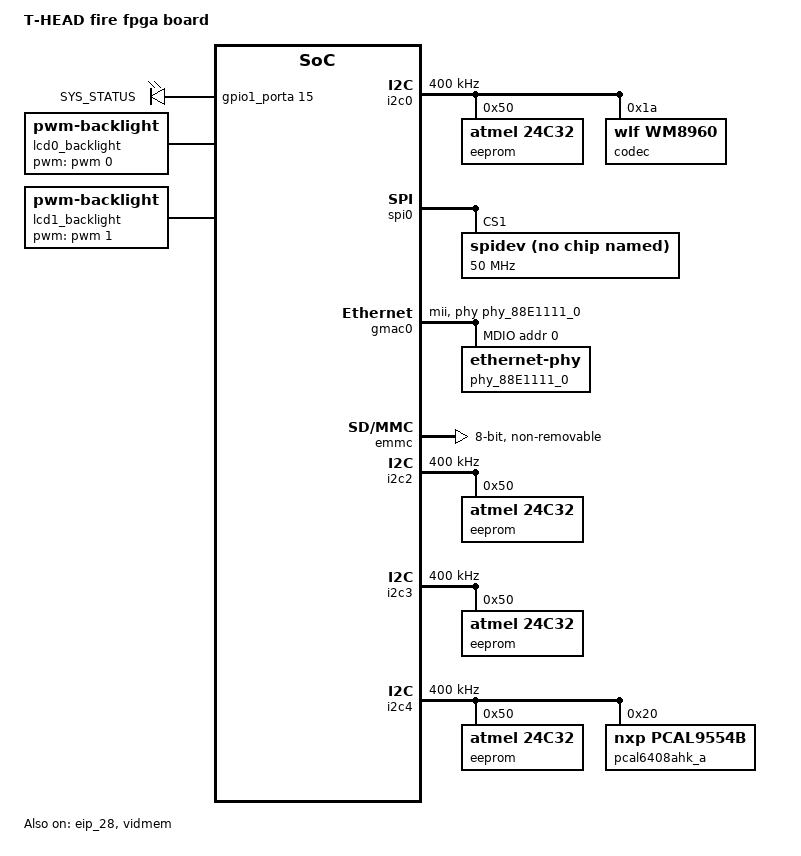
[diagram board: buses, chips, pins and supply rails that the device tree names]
/* SPDX-License-Identifier: GPL-2.0 */
/*
 * Copyright (C) 2021-2022 Alibaba Group Holding Limited.
 */

/dts-v1/;

#include "fire.dtsi"
#include <dt-bindings/input/linux-event-codes.h>
#include <dt-bindings/gpio/gpio.h>
#include "light-vi-devices.dtsi"

/ {
	model = "T-HEAD fire fpga board";
	compatible = "thead,fire-emu", "thead,fire";

	chosen {
		bootargs = "console=ttyS0,115200 crashkernel=256M-:128M earlycon clk_ignore_unused sram=0xffe0000000,0x180000";
		stdout-path = "serial0:115200n8";
	};

	leds {
		compatible = "gpio-leds";

		led0 {
			label = "SYS_STATUS";
			gpios = <&gpio1_porta 15 0>;	/* GPIO_ACTIVE_HIGH: 0 */
			default-state = "off";
		};
	};

	lcd0_backlight: pwm-backlight@0 {
		compatible = "pwm-backlight";
		pwms = <&pwm 0 5000000>;
		brightness-levels = <0 4 8 16 32 64 128 255>;
		default-brightness-level = <7>;
	};

	lcd1_backlight: pwm-backlight@1 {
		compatible = "pwm-backlight";
		pwms = <&pwm 1 5000000>;
		brightness-levels = <0 4 8 16 32 64 128 255>;
		default-brightness-level = <7>;
	};

	light_iopmp: iopmp {
		compatible = "thead,light-iopmp";

		/* config#1: multiple valid regions */
		iopmp_emmc: IOPMP_EMMC {
			regions = <0x000000 0x100000>,
				  <0x100000 0x200000>;
			attr = <0xFFFFFFFF>;
			dummy_slave= <0x800000>;
		};

		/* config#2: iopmp bypass */
		iopmp_sdio0: IOPMP_SDIO0 {
			bypass_en;
		};

		/* config#3: iopmp default region set */
		iopmp_sdio1: IOPMP_SDIO1 {
			attr = <0xFFFFFFFF>;
			is_default_region;
		};

		iopmp_usb0: IOPMP_USB0 {
			attr = <0xFFFFFFFF>;
			is_default_region;
		};

		iopmp_ao: IOPMP_AO {
			is_default_region;
		};

		iopmp_aud: IOPMP_AUD {
			is_default_region;
		};

		iopmp_chip_dbg: IOPMP_CHIP_DBG {
			is_default_region;
		};

		iopmp_eip120i: IOPMP_EIP120I {
			is_default_region;
		};

		iopmp_eip120ii: IOPMP_EIP120II {
			is_default_region;
		};

		iopmp_eip120iii: IOPMP_EIP120III {
			is_default_region;
		};

		iopmp_isp0: IOPMP_ISP0 {
			is_default_region;
		};

		iopmp_isp1: IOPMP_ISP1 {
			is_default_region;
		};

		iopmp_dw200: IOPMP_DW200 {
			is_default_region;
		};

		iopmp_vipre: IOPMP_VIPRE {
			is_default_region;
		};

		iopmp_venc: IOPMP_VENC {
			is_default_region;
		};

		iopmp_vdec: IOPMP_VDEC {
			is_default_region;
		};

		iopmp_g2d: IOPMP_G2D {
			is_default_region;
		};

		iopmp0_dpu: IOPMP0_DPU {
			bypass_en;
		};

		iopmp1_dpu: IOPMP1_DPU {
			bypass_en;
		};

		iopmp_gpu: IOPMP_GPU {
			is_default_region;
		};

		iopmp_gmac1: IOPMP_GMAC1 {
			is_default_region;
		};

		iopmp_gmac2: IOPMP_GMAC2 {
			is_default_region;
		};

		iopmp_dmac: IOPMP_DMAC {
			is_default_region;
		};

		iopmp_tee_dmac: IOPMP_TEE_DMAC {
			is_default_region;
		};

		iopmp_dsp0: IOPMP_DSP0 {
			is_default_region;
		};

		iopmp_dsp1: IOPMP_DSP1 {
			is_default_region;
		};
	};

	mbox_910t_client1: mbox_910t_client1 {
		compatible = "thead,light-mbox-client";
		mbox-names = "902";
		mboxes = <&mbox_910t 1 0>;
		status = "disabled";
	};


	mbox_910t_client2: mbox_910t_client2 {
		compatible = "thead,light-mbox-client";
		mbox-names = "906";
		mboxes = <&mbox_910t 2 0>;
		status = "disabled";
	};

	lightsound: lightsound@1 {
		compatible = "simple-audio-card";
		simple-audio-card,name = "Light-Sound-Card";

		#address-cells = <1>;
		#size-cells = <0>;

		status = "disabled";
	};

	dummy_codec: dummy_codec {
		#sound-dai-cells = <1>;
		compatible = "linux,bt-sco";
		status = "okay";
	};


	wcn_wifi: wireless-wlan {
		compatible = "wlan-platdata";
		clock-names = "clk_wifi";
		ref-clock-frequency = <24000000>;
		keep_wifi_power_on;
		pinctrl-names = "default";
		wifi_chip_type = "rtl8723ds";
		WIFI,poweren_gpio = <&gpio2_porta 26 0>;
		WIFI,reset_n = <&gpio2_porta 28 0>;
		status = "disabled";
	};

	wcn_bt: wireless-bluetooth {
		compatible = "bluetooth-platdata";
		pinctrl-names = "default", "rts_gpio";
		BT,power_gpio    = <&gpio2_porta 29 0>;
		status = "disabled";
	};

	gpio_keys: gpio_keys{
		compatible = "gpio-keys";
		pinctrl-names = "default";
		status = "disabled";
		key-volumedown {
			label = "Volume Down Key";
			linux,code = <KEY_1>;
			debounce-interval = <2>;
			gpios = <&ao_gpio_porta 4 GPIO_ACTIVE_LOW>;
		};
		key-volumeup {
			label = "Volume Up Key";
			linux,code = <KEY_2>;
			debounce-interval = <2>;
			gpios = <&ao_gpio_porta 5 GPIO_ACTIVE_LOW>;
		};
	};

	aon: light-aon {
		compatible = "thead,light-aon";
		mbox-names = "aon";
		mboxes = <&mbox_910t 1 0>;
		status = "disabled";

		pd: light-aon-pd {
			compatible = "thead,light-aon-pd";
			#power-domain-cells = <1>;
			status = "disabled";
		};

		aon_reg_dialog: light-dialog-reg {
			compatible = "thead,light-dialog-pmic";
			status = "disabled";
		};

		c910_cpufreq {
			compatible = "thead,light-mpw-cpufreq";
			status = "disabled";
		};

		test: light-aon-test {
			compatible = "thead,light-aon-test";
			status = "disabled";
		};
	};
};

&cmamem {
	alloc-ranges = <0 0xe4000000 0 0x14000000>; // [0xE400_0000 ~ 0xF800_0000]
};

&resmem {
	#address-cells = <2>;
	#size-cells = <2>;
	ranges;

	tee_mem: memory@1a000000 {
		reg = <0x0 0x1a000000 0 0x4000000>;
		no-map;
	};
	dsp0_mem: memory@20000000 {			/**0x2000_0000~0x2040_0000 4M**/
		reg = <0x0 0x20000000 0x0 0x00280000	/* DSP FW code&data section 2.5M*/
		       0x0 0x20280000 0x0 0x00001000	/* DSP communication area 4K*/
		       0x0 0x20281000 0x0 0x00007000	/* Panic/log page 28K */
		       0x0 0x20288000 0x0 0x00178000>;	/* DSP shared memory 1.5M-32K*/
		no-map;
	};
	dsp1_mem: memory@20400000 {			/**0x2040_0000~0x2080_0000 4M**/
		reg = <0x0 0x20400000 0x0 0x00280000	/* DSP FW code&data section */
		       0x0 0x20680000 0x0 0x00001000	/* DSP communication area */
		       0x0 0x20681000 0x0 0x00007000	/* Panic/log page*/
		       0x0 0x20688000 0x0 0x00178000>;	/* DSP shared memory */
		no-map;
	};
    vi_mem: framebuffer@0f800000 {
		reg = <0x0 0x0F800000 0x0 0x05400000	/* vi_mem_pool_region[0]  84 MB (default) */
		       0x0 0x14C00000 0x0 0x01D00000	/* vi_mem_pool_region[1]  29 MB */
		       0x0 0x16900000 0x0 0x03200000>;	/* vi_mem_pool_region[2]  50 MB */
		no-map;
	};
	facelib_mem: memory@22000000 {
		reg = <0x0 0x22000000 0x0 0x10000000>;
		no-map;
	};

};

&clk {
	status = "disabled";
};

&i2c0 {
	clock-frequency = <400000>;
	status = "okay";

	eeprom@50 {
		compatible = "atmel,24c32";
		reg = <0x50>;
		pagesize = <32>;
	};

	codec: wm8960@1a {
		#sound-dai-cells = <0>;
		compatible = "wlf,wm8960";
		reg = <0x1a>;
		wlf,shared-lrclk;
		wlf,hp-cfg = <3 2 3>;
		wlf,gpio-cfg = <1 3>;
	};

       touch@5d {
               #gpio-cells = <2>;
               compatible = "goodix,gt911";
			   status = "disabled";
               reg = <0x5d>;
               interrupt-parent = <&gpio1_porta>;
               interrupts = <8 0>;
               irq-gpios = <&gpio1_porta 8 0>;
               reset-gpios = <&gpio1_porta 7 0>;
               touchscreen-size-x = <800>;
               touchscreen-size-y = <1280>;
       };
};

&audio_i2c0 {
        clock-frequency = <100000>;
        status = "disabled";

       es8156_audio_codec: es8156@8 {
               #sound-dai-cells = <0>;
               compatible = "everest,es8156";
               reg = <0x08>;
       };

        es7210_audio_codec: es7210@40 {
                #sound-dai-cells = <0>;
                compatible = "MicArray_0";
                reg = <0x40>;
        };
};

&i2c1 {
        clock-frequency = <400000>;
        status = "disabled";
        touch1@5d {
                #gpio-cells = <2>;
                compatible = "goodix,gt911";
                reg = <0x5d>;
                interrupt-parent = <&gpio1_porta>;
                interrupts = <12 0>;
                irq-gpios = <&gpio1_porta 12 0>;
                reset-gpios = <&gpio1_porta 11 0>;
                touchscreen-size-x = <800>;
                touchscreen-size-y = <1280>;
        };
};

&spi0 {
	num-cs = <1>;
	cs-gpios = <&gpio2_porta 15 0>; // GPIO_ACTIVE_HIGH: 0
	rx-sample-delay-ns = <10>;
	status = "okay";

	spi_norflash@0 {
		#address-cells = <1>;
		#size-cells = <1>;
		compatible = "winbond,w25q64jwm", "jedec,spi-nor";
		reg = <0>;
		spi-max-frequency = <50000000>;
		w25q,fast-read;
		status = "disabled";
	};

	spidev@1 {
		compatible = "spidev";
		#address-cells = <0x1>;
		#size-cells = <0x1>;
		reg = <0x1>;
		spi-max-frequency = <50000000>;
	};
};

&qspi0 {
	status = "disabled";
};

&qspi1 {
	status = "disabled";
};
&gmac0 {
	max-speed = <100>;
	phy-mode = "mii";
	phy-handle = <&phy_88E1111_0>;
	status = "okay";

	mdio0 {
		#address-cells = <1>;
		#size-cells = <0>;
		compatible = "snps,dwmac-mdio";

		phy_88E1111_0: ethernet-phy@0 {
			reg = <0x0>;
		};

	};
};

&emmc {
	max-frequency = <198000000>;
	non-removable;
	/*mmc-hs400-1_8v;*/
	io_fixed_1v8;
	is_emmc;
	no-sdio;
	no-sd;
	pull_up;
	bus-width = <8>;
	status = "okay";
};

&sdhci0 {
	max-frequency = <198000000>;
	bus-width = <4>;
	pull_up;
	wprtn_ignore;
	status = "disabled";
};

&sdhci1 {
	max-frequency = <100000000>;
	bus-width = <4>;
	pull_up;
	no-sd;
	no-mmc;
	non-removable;
	io_fixed_1v8;
	post-power-on-delay-ms = <50>;
	wprtn_ignore;
	cap-sd-highspeed;
	keep-power-in-suspend;
	wakeup-source;
	status = "disabled";
};

&padctrl0_apsys { /* right-pinctrl */
	light-evb-padctrl0 {
			/*
			 * Pin Configuration Node:
			 * Format: <pin_id mux_node config>
			 */
			pinctrl_uart0: uart0grp {
				thead,pins = <
					FM_UART0_TXD	0x0	0x72
					FM_UART0_RXD	0x0	0x72
				>;
			};

			pinctrl_spi0: spi0grp {
				thead,pins = <
					FM_SPI_CSN	0x3	0x20a
					FM_SPI_SCLK	0x0	0x20a
					FM_SPI_MISO	0x0	0x23a
					FM_SPI_MOSI	0x0	0x23a
				>;
			};

			pinctrl_qspi0: qspi0grp {
				thead,pins = <
					FM_QSPI0_SCLK    0x0    0x20f
					FM_QSPI0_CSN0    0x3    0x20f
					FM_QSPI0_CSN1    0x0    0x20f
					FM_QSPI0_D0_MOSI 0x0    0x23f
					FM_QSPI0_D1_MISO 0x0    0x23f
					FM_QSPI0_D2_WP   0x0    0x23f
					FM_QSPI0_D3_HOLD 0x0    0x23f
				>;
			};

			pinctrl_audio_i2s0: i2s0grp {
				thead,pins = <
					FM_QSPI0_SCLK    0x2    0x208
					FM_QSPI0_CSN0    0x2    0x238
					FM_QSPI0_CSN1    0x2    0x208
					FM_QSPI0_D0_MOSI 0x2    0x238
					FM_QSPI0_D1_MISO 0x2    0x238
					FM_QSPI0_D2_WP   0x2    0x238
					FM_QSPI0_D3_HOLD 0x2    0x238
				>;
			};

			pinctrl_pwm: pwmgrp {
				thead,pins = <
					FM_GPIO3_2	0x1	0x208	/* pwm0 */
					FM_GPIO3_3	0x1	0x208	/* pwm1 */
				>;
			};
		};
};

&padctrl1_apsys { /* left-pinctrl */
	light-evb-padctrl1 {
			/*
			 * Pin Configuration Node:
			 * Format: <pin_id mux_node config>
			 */
			pinctrl_uart3: uart3grp {
				thead,pins = <
					FM_UART3_TXD	0x0	0x72
					FM_UART3_RXD	0x0	0x72
				>;
			};

			pinctrl_uart4: uart4grp {
				thead,pins = <
					FM_UART4_TXD	0x0	0x72
					FM_UART4_RXD	0x0	0x72
					FM_UART4_CTSN	0x0	0x72
					FM_UART4_RTSN	0x0	0x72
				>;
			};

			pinctrl_qspi1: qspi1grp {
				thead,pins = <
					FM_QSPI1_SCLK    0x0    0x20a
					FM_QSPI1_CSN0    0x3    0x20a
					FM_QSPI1_D0_MOSI 0x0    0x23a
					FM_QSPI1_D1_MISO 0x0    0x23a
					FM_QSPI1_D2_WP   0x0    0x23a
					FM_QSPI1_D3_HOLD 0x0    0x23a
				>;
			};


			pinctrl_iso7816: iso7816grp {
				thead,pins = <
					FM_QSPI1_SCLK		0x1	0x208
					FM_QSPI1_D0_MOSI	0x1	0x238
					FM_QSPI1_D1_MISO	0x1	0x238
					FM_QSPI1_D2_WP		0x1	0x238
					FM_QSPI1_D3_HOLD	0x1	0x238
				>;
			};

		};
};

&i2c2 {
    clock-frequency = <400000>;
	status = "okay";
	eeprom@50 {
		compatible = "atmel,24c32";
		reg = <0x50>;
		pagesize = <32>;
	};
};

&i2c3 {
    clock-frequency = <400000>;
	status = "okay";
	eeprom@50 {
		compatible = "atmel,24c32";
		reg = <0x50>;
		pagesize = <32>;
	};
};

&i2c4 {
    clock-frequency = <400000>;
	status = "okay";
	eeprom@50 {
		compatible = "atmel,24c32";
		reg = <0x50>;
		pagesize = <32>;
	};

	pcal6408ahk_a: gpio@20 {
		compatible = "nxp,pcal9554b";
		reg = <0x20>;
		gpio-controller;
		#gpio-cells = <2>;
	};
};

&isp0 {
	status = "disabled";
};

&isp1 {
	status = "disabled";
};

&isp_ry0 {
	status = "disabled";
};

&dewarp {
	status = "disabled";
};

&dec400_isp0 {
	status = "disabled";
};

&dec400_isp1 {
	status = "disabled";
};

&dec400_isp2 {
	status = "disabled";
};

&bm_visys {
	status = "disabled";
};

&bm_csi0 {
	status = "disabled";
};

&bm_csi1 {
	status = "disabled";
};

&bm_csi2 {
	status = "disabled";
};

&vi_pre {
	//vi_pre_irq_en = <1>;
	status = "disabled";
};

&xtensa_dsp {
	status = "disabled";
};

&xtensa_dsp0 {
	status = "disabled";
    memory-region = <&dsp0_mem>;
};

&xtensa_dsp1{
    status = "disabled";
    memory-region = <&dsp1_mem>;
};

&vvcam_flash_led0{
    flash_led_name = "aw36413_aw36515";
	floodlight_i2c_bus = /bits/ 8 <2>;
	floodlight_en_pin = <&gpio1_porta 25 0>;
	//projection_i2c_bus = /bits/ 8 <2>;
	flash_led_touch_pin = <&gpio1_porta 27 0>; //flash led touch pin
	status = "disabled";
};

&trng {
	status = "disabled";
};

&eip_28 {
	status = "okay";
};

&vdec {
	status = "disabled";
};

&venc {
	status = "disabled";
};

&isp_venc_shake {
	status = "disabled";
};

&vidmem {
	status = "okay";
	memory-region = <&vi_mem>;
};

&gpu {
	status = "disabled";
};

&cpus {
	c910_0: cpu@0 {
		operating-points = <
			/* kHz    uV */
			300000	650000
			800000	700000
			1500000	800000
			1848000	1000000
		>;
		light,dvddm-operating-points = <
			/* kHz   uV */
			300000	800000
			800000	800000
			1500000	800000
			1848000	1000000
		>;
	};
	c910_1: cpu@1 {
		status = "disabled";
		operating-points = <
			/* kHz    uV */
			300000	650000
			800000	700000
			1500000	800000
			1848000	1000000
		>;
		light,dvddm-operating-points = <
			/* kHz   uV */
			300000	800000
			800000	800000
			1500000	800000
			1848000	1000000
		>;
	};
	c910_2: cpu@2 {
		status = "disabled";
		operating-points = <
			/* kHz    uV */
			300000	650000
			800000	700000
			1500000	800000
			1848000	1000000
		>;
		light,dvddm-operating-points = <
			/* kHz   uV */
			300000	800000
			800000	800000
			1500000	800000
			1848000	1000000
		>;
	};
	c910_3: cpu@3 {
		status = "disabled";
		operating-points = <
			/* kHz    uV */
			300000	650000
			800000	700000
			1500000	800000
			1848000	1000000
		>;
		light,dvddm-operating-points = <
			/* kHz   uV */
			300000	800000
			800000	800000
			1500000	800000
			1848000	1000000
		>;
	};
};

&thermal_zones {
	cpu-thermal-zone {
		status = "disabled";
	};
};

&dummy_clock_apb {
	clock-frequency = <50000000>;
};

&uart0 {
	clocks = <&dummy_clock_apb>;
};
&uart1 {
	clocks = <&dummy_clock_apb>;
};
&uart2 {
	clocks = <&dummy_clock_apb>;
};
&uart3 {
	clocks = <&dummy_clock_apb>;
};
&uart4 {
	clocks = <&dummy_clock_apb>;
};
&uart5 {
	clocks = <&dummy_clock_apb>;
};

&usb3_drd {
	status = "disabled";
};

&usb {
	status = "disabled";
};

&dspsys_reg {
	status = "disabled";
};

&audio_ioctrl {
	status = "disabled";
};

&audio_cpr {
	status = "disabled";
};

&timer0 {
	clock-frequency = <50000000>;
};

&timer1 {
	clock-frequency = <50000000>;
};

&timer2 {
	clock-frequency = <50000000>;
};

&timer3 {
	clock-frequency = <50000000>;
};

&g2d {
	status = "disabled";
};

&vosys_reg {
	status = "disabled";
};

&dmac2 {
    status = "disabled";
};

&sdhci1 {
	status = "disabled";
};

&pvt {
	status = "disabled";
};

&audio_i2c0 {
	status = "disabled";
};

&csia_reg {
	status = "disabled";
};

&visys_clk_gate { /* VI_SYSREG_R */
	status = "disabled";
};

&vpsys_clk_gate { /* VP_SYSREG_R */
	status = "disabled";
};

&vosys_clk_gate { /* VO_SYSREG_R */
	status = "disabled";
};

&dspsys_clk_gate {
	status = "disabled";
};

&watchdog0 {
	status = "disabled";
};

&watchdog1 {
	status = "disabled";
};

